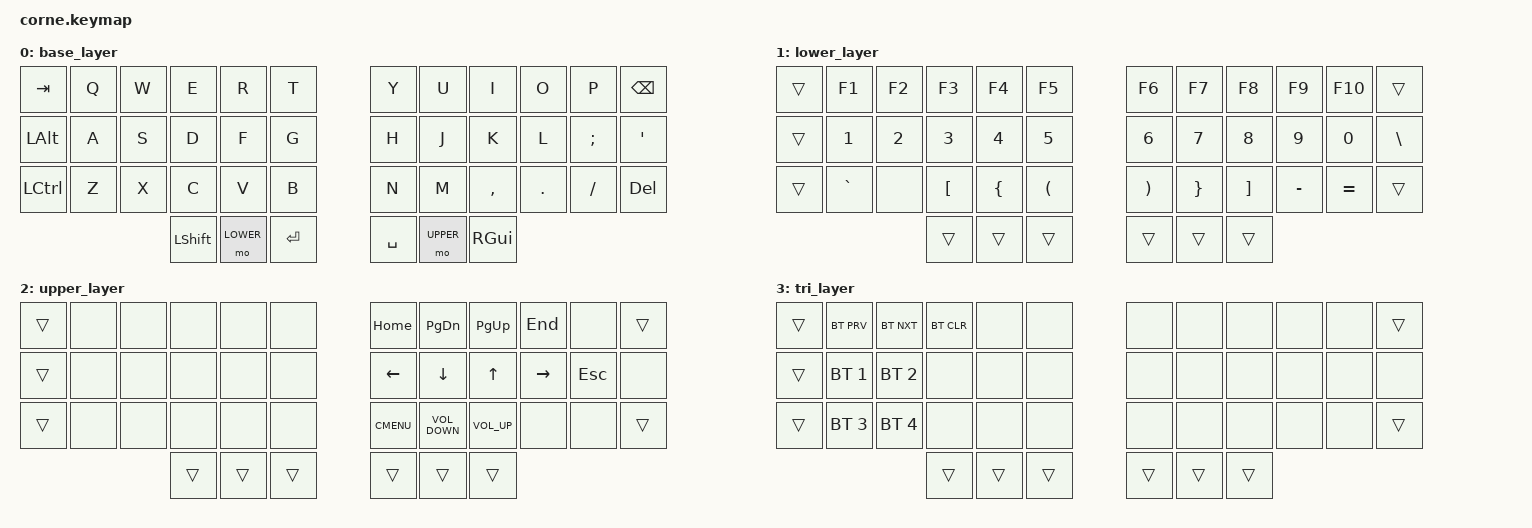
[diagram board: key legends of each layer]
#include <behaviors.dtsi>
#include <dt-bindings/zmk/keys.h>
#include <dt-bindings/zmk/bt.h>

#define BASE 0
#define LOWER 1
#define UPPER 2

/ {

  conditional_layers {
      compatible = "zmk,conditional-layers";
      tri_layer {
          if-layers = <1 2>;
          then-layer = <3>;
      };
  };

  keymap {
    compatible = "zmk,keymap";

    base_layer {
      bindings = <
        &kp TAB          &kp Q        &kp W        &kp E            &kp R              &kp T                &kp Y                 &kp U             &kp I             &kp O        &kp P         &kp BACKSPACE 
        &kp LEFT_ALT     &kp A        &kp S        &kp D            &kp F              &kp G                &kp H                 &kp J             &kp K             &kp L        &kp SEMICOLON &kp SINGLE_QUOTE 
        &kp LEFT_CONTROL &kp Z        &kp X        &kp C            &kp V              &kp B                &kp N                 &kp M             &kp COMMA         &kp PERIOD   &kp SLASH     &kp DEL 
                                                   &kp LEFT_SHIFT   &mo LOWER          &kp RETURN           &kp SPACE             &mo UPPER         &kp RIGHT_GUI 
      >;
    };

    lower_layer {
      bindings = <
        &trans           &kp F1       &kp F2       &kp F3           &kp F4             &kp F5               &kp F6                &kp F7            &kp F8            &kp F9       &kp F10       &trans 
        &trans           &kp NUMBER_1 &kp NUMBER_2 &kp NUMBER_3     &kp NUMBER_4       &kp NUMBER_5         &kp NUMBER_6          &kp NUMBER_7      &kp NUMBER_8      &kp NUMBER_9 &kp NUMBER_0  &kp BACKSLASH 
        &trans           &kp GRAVE    &none        &kp LEFT_BRACKET &kp LEFT_BRACE     &kp LEFT_PARENTHESIS &kp RIGHT_PARENTHESIS &kp RIGHT_BRACE   &kp RIGHT_BRACKET &kp MINUS    &kp EQUAL     &trans 
                                                   &trans           &trans             &trans               &trans                &trans            &trans 
      >;
    };

    upper_layer {
      bindings = <
        &trans           &none        &none        &none            &none              &none                &kp HOME              &kp PG_DN         &kp PG_UP         &kp END      &none         &trans 
        &trans           &none        &none        &none            &none              &none                &kp LEFT              &kp DOWN          &kp UP            &kp RIGHT    &kp ESCAPE    &none  
        &trans           &none        &none        &none            &none              &none                &kp K_CMENU           &kp C_VOLUME_DOWN &kp C_VOLUME_UP   &none        &none         &trans   
                                                   &trans           &trans             &trans               &trans                &trans            &trans 
      >;
    };

    tri_layer {
      bindings = <
        &trans           &bt BT_PRV   &bt BT_NXT   &bt BT_CLR       &none              &none                &none                 &none             &none             &none        &none         &trans 
        &trans           &bt BT_SEL 1 &bt BT_SEL 2 &none            &none              &none                &none                 &none             &none             &none        &none         &none 
        &trans           &bt BT_SEL 3 &bt BT_SEL 4 &none            &none              &none                &none                 &none             &none             &none        &none         &trans 
                                                   &trans           &trans             &trans               &trans                &trans            &trans 
      >;
    };
  };
};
